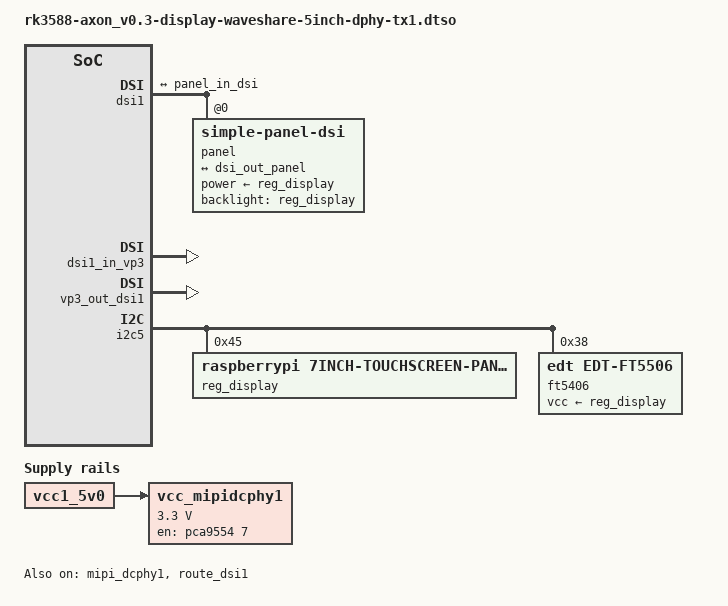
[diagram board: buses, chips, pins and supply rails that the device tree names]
//SPDX-License-Identifier: GPL-2..0+
// Copyright (C) 2024 Vicharak Computers PVT LTD

/dts-v1/;
/plugin/;

#include <dt-bindings/gpio/gpio.h>
#include <dt-bindings/pinctrl/rockchip.h>
#include <dt-bindings/display/drm_mipi_dsi.h>

&{/} {
	metadata {
		title = "Enable Waveshare 5inch DSI LCD DPHY TX1 Axon V0.3";
		compatible = "vicharak,rk3588-axon", "rockchip,rk3588";
		category = "display";
		exclusive = "dsi1", "vp3", "dsi1_in_vp3", "vp3_out_dsi1";
		description = "Enables support for the Waveshare 5-inch LCD screen for DSI1 on\n Vicharak Axon at I2C 5 bus address 45 for regulator and 38 for touchscreen.\n";
	};

	vcc_mipidcphy1: vcc-mipi-dcphy1 {
		compatible = "regulator-fixed";
		regulator-name = "vcc_mipidcphy1";
		regulator-min-microvolt = <3300000>;
		regulator-max-microvolt = <3300000>;
		gpio = <&pca9554 7 GPIO_ACTIVE_HIGH>;
		regulator-always-on;
		regulator-boot-on;
		enable-active-high;
		vin-supply = <&vcc1_5v0>;
		status = "okay";
	};
};

&mipi_dcphy1 {
	status = "okay";
};

&dsi1 {
	status = "okay";
	#address-cells = <1>;
	#size-cells = <0>;

	panel: panel-dsi-generic@0 {
		compatible = "simple-panel-dsi";
		reg = <0>;
		power-supply = <&reg_display>;
		backlight = <&reg_display>;
		status = "okay";

		width-mm = <0>;
		height-mm = <0>;

		dsi,format = <MIPI_DSI_FMT_RGB888>;
		dsi,lanes = <1>;
		dsi,flags = <(MIPI_DSI_MODE_VIDEO | MIPI_DSI_MODE_VIDEO_SYNC_PULSE |
			  MIPI_DSI_MODE_LPM | MIPI_DSI_MODE_VIDEO_HSE)>;

		display-timings {
			native-mode = <&timing0>;
			timing0: timing0 {
				clock-frequency = <27777000>;
				hactive = <800>;
				vactive = <480>;

				hback-porch = <45>;
				hfront-porch = <59>;

				vback-porch = <22>;
				vfront-porch = <7>;

				hsync-len = <2>;
				vsync-len = <2>;
			};
		};

		ports {
            #address-cells = <1>;
            #size-cells = <0>;

            port@0 {
                reg = <0>;
                panel_in_dsi: endpoint {
                    remote-endpoint = <&dsi_out_panel>;
                };
            };
        };
	};

	ports {
		#address-cells = <1>;
		#size-cells = <0>;

		port@1 {
			reg = <1>;

			dsi_out_panel: endpoint {
				remote-endpoint = <&panel_in_dsi>;
			};
		};
	};
};

&dsi1_in_vp2 {
	status = "disabled";
};

&dsi1_in_vp3 {
	status = "okay";
};

&vp3_out_dsi1 {
	status = "okay";
};

&route_dsi1 {
	status = "okay";
	connect = <&vp3_out_dsi1>;
};

&i2c5 {
	status = "okay";
	#address-cells = <1>;
	#size-cells = <0>;

	reg_display: reg_display@45 {
		compatible = "raspberrypi,7inch-touchscreen-panel-regulator";
		reg = <0x45>;
		status = "okay";
	};

	ft5406: ts@38 {
		compatible = "edt,edt-ft5506";
		reg = <0x38>;
		vcc-supply = <&reg_display>;
		touchscreen-size-x = <800>;
		touchscreen-size-y = <480>;
		touchscreen-inverted-x;
		touchscreen-inverted-y;
		status = "okay";
	};
};
